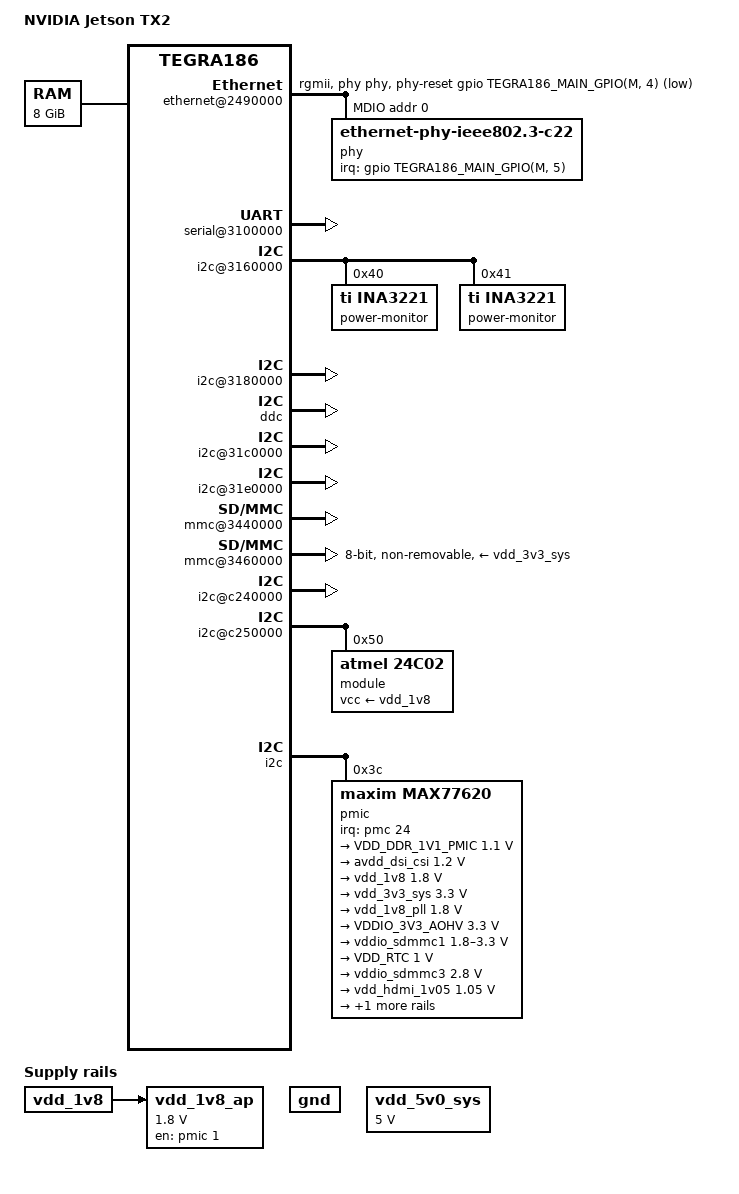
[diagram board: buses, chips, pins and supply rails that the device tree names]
// SPDX-License-Identifier: GPL-2.0
#include "tegra186.dtsi"

#include <dt-bindings/mfd/max77620.h>

/ {
	model = "NVIDIA Jetson TX2";
	compatible = "nvidia,p3310", "nvidia,tegra186";

	aliases {
		ethernet0 = "/ethernet@2490000";
		i2c0 = "/bpmp/i2c";
		i2c1 = "/i2c@3160000";
		i2c2 = "/i2c@c240000";
		i2c3 = "/i2c@3180000";
		i2c4 = "/i2c@3190000";
		i2c5 = "/i2c@31c0000";
		i2c6 = "/i2c@c250000";
		i2c7 = "/i2c@31e0000";
		mmc0 = "/mmc@3460000";
		mmc1 = "/mmc@3400000";
		serial0 = &uarta;
	};

	chosen {
		bootargs = "earlycon console=ttyS0,115200n8 fw_devlink=on";
		stdout-path = "serial0:115200n8";
	};

	memory@80000000 {
		device_type = "memory";
		reg = <0x0 0x80000000 0x2 0x00000000>;
	};

	ethernet@2490000 {
		status = "okay";

		phy-reset-gpios = <&gpio TEGRA186_MAIN_GPIO(M, 4)
					 GPIO_ACTIVE_LOW>;
		phy-handle = <&phy>;
		phy-mode = "rgmii";

		mdio {
			#address-cells = <1>;
			#size-cells = <0>;

			phy: ethernet-phy@0 {
				compatible = "ethernet-phy-ieee802.3-c22";
				reg = <0x0>;
				interrupt-parent = <&gpio>;
				interrupts = <TEGRA186_MAIN_GPIO(M, 5)
					      IRQ_TYPE_LEVEL_LOW>;

				#phy-cells = <0>;
			};
		};
	};

	memory-controller@2c00000 {
		status = "okay";
	};

	serial@3100000 {
		status = "okay";
	};

	i2c@3160000 {
		status = "okay";

		power-monitor@40 {
			compatible = "ti,ina3221";
			reg = <0x40>;
			#address-cells = <1>;
			#size-cells = <0>;

			input@0 {
				reg = <0x0>;
				label = "VDD_SYS_GPU";
				shunt-resistor-micro-ohms = <10000>;
			};

			input@1 {
				reg = <0x1>;
				label = "VDD_SYS_SOC";
				shunt-resistor-micro-ohms = <10000>;
			};

			input@2 {
				reg = <0x2>;
				label = "VDD_3V8_WIFI";
				shunt-resistor-micro-ohms = <10000>;
			};
		};

		power-monitor@41 {
			compatible = "ti,ina3221";
			reg = <0x41>;
			#address-cells = <1>;
			#size-cells = <0>;

			input@0 {
				reg = <0x0>;
				label = "VDD_IN";
				shunt-resistor-micro-ohms = <5000>;
			};

			input@1 {
				reg = <0x1>;
				label = "VDD_SYS_CPU";
				shunt-resistor-micro-ohms = <10000>;
			};

			input@2 {
				reg = <0x2>;
				label = "VDD_5V0_DDR";
				shunt-resistor-micro-ohms = <10000>;
			};
		};
	};

	i2c@3180000 {
		status = "okay";
	};

	ddc: i2c@3190000 {
		status = "okay";
	};

	i2c@31c0000 {
		status = "okay";
	};

	i2c@31e0000 {
		status = "okay";
	};

	/* SDMMC1 (SD/MMC) */
	mmc@3400000 {
		cd-gpios = <&gpio TEGRA186_MAIN_GPIO(P, 5) GPIO_ACTIVE_LOW>;
		wp-gpios = <&gpio TEGRA186_MAIN_GPIO(P, 4) GPIO_ACTIVE_HIGH>;

		vqmmc-supply = <&vddio_sdmmc1>;
	};

	/* SDMMC3 (SDIO) */
	mmc@3440000 {
		status = "okay";
		vqmmc-supply = <&vddio_sdmmc3>;
	};

	/* SDMMC4 (eMMC) */
	mmc@3460000 {
		status = "okay";
		bus-width = <8>;
		non-removable;

		vqmmc-supply = <&vdd_1v8_ap>;
		vmmc-supply = <&vdd_3v3_sys>;
	};

	hsp@3c00000 {
		status = "okay";
	};

	i2c@c240000 {
		status = "okay";
	};

	i2c@c250000 {
		status = "okay";

		/* module ID EEPROM */
		eeprom@50 {
			compatible = "atmel,24c02";
			reg = <0x50>;

			label = "module";
			vcc-supply = <&vdd_1v8>;
			address-width = <8>;
			pagesize = <8>;
			size = <256>;
			read-only;
		};
	};

	rtc@c2a0000 {
		status = "okay";
	};

	pmc@c360000 {
		nvidia,invert-interrupt;
	};

	bpmp {
		i2c {
			status = "okay";

			pmic: pmic@3c {
				compatible = "maxim,max77620";
				reg = <0x3c>;

				interrupt-parent = <&pmc>;
				interrupts = <24 IRQ_TYPE_LEVEL_LOW>;
				#interrupt-cells = <2>;
				interrupt-controller;

				#gpio-cells = <2>;
				gpio-controller;

				pinctrl-names = "default";
				pinctrl-0 = <&max77620_default>;

				fps {
					fps0 {
						maxim,fps-event-source = <MAX77620_FPS_EVENT_SRC_EN0>;
						maxim,shutdown-fps-time-period-us = <640>;
					};

					fps1 {
						maxim,fps-event-source = <MAX77620_FPS_EVENT_SRC_EN1>;
						maxim,shutdown-fps-time-period-us = <640>;
					};

					fps2 {
						maxim,fps-event-source = <MAX77620_FPS_EVENT_SRC_EN0>;
						maxim,shutdown-fps-time-period-us = <640>;
					};
				};

				max77620_default: pinmux {
					gpio0 {
						pins = "gpio0";
						function = "gpio";
					};

					gpio1 {
						pins = "gpio1";
						function = "fps-out";
						maxim,active-fps-source = <MAX77620_FPS_SRC_0>;
					};

					gpio2 {
						pins = "gpio2";
						function = "fps-out";
						maxim,active-fps-source = <MAX77620_FPS_SRC_1>;
					};

					gpio3 {
						pins = "gpio3";
						function = "fps-out";
						maxim,active-fps-source = <MAX77620_FPS_SRC_1>;
					};

					gpio4 {
						pins = "gpio4";
						function = "32k-out1";
						drive-push-pull = <1>;
					};

					gpio5 {
						pins = "gpio5";
						function = "gpio";
						drive-push-pull = <0>;
					};

					gpio6 {
						pins = "gpio6";
						function = "gpio";
						drive-push-pull = <1>;
					};

					gpio7 {
						pins = "gpio7";
						function = "gpio";
						drive-push-pull = <0>;
					};
				};

				regulators {
					in-sd0-supply = <&vdd_5v0_sys>;
					in-sd1-supply = <&vdd_5v0_sys>;
					in-sd2-supply = <&vdd_5v0_sys>;
					in-sd3-supply = <&vdd_5v0_sys>;

					in-ldo0-1-supply = <&vdd_5v0_sys>;
					in-ldo2-supply = <&vdd_5v0_sys>;
					in-ldo3-5-supply = <&vdd_5v0_sys>;
					in-ldo4-6-supply = <&vdd_1v8>;
					in-ldo7-8-supply = <&avdd_dsi_csi>;

					sd0 {
						regulator-name = "VDD_DDR_1V1_PMIC";
						regulator-min-microvolt = <1100000>;
						regulator-max-microvolt = <1100000>;
						regulator-always-on;
						regulator-boot-on;
					};

					avdd_dsi_csi: sd1 {
						regulator-name = "AVDD_DSI_CSI_1V2";
						regulator-min-microvolt = <1200000>;
						regulator-max-microvolt = <1200000>;
					};

					vdd_1v8: sd2 {
						regulator-name = "VDD_1V8";
						regulator-min-microvolt = <1800000>;
						regulator-max-microvolt = <1800000>;
					};

					vdd_3v3_sys: sd3 {
						regulator-name = "VDD_3V3_SYS";
						regulator-min-microvolt = <3300000>;
						regulator-max-microvolt = <3300000>;
					};

					vdd_1v8_pll: ldo0 {
						regulator-name = "VDD_1V8_AP_PLL";
						regulator-min-microvolt = <1800000>;
						regulator-max-microvolt = <1800000>;
					};

					ldo2 {
						regulator-name = "VDDIO_3V3_AOHV";
						regulator-min-microvolt = <3300000>;
						regulator-max-microvolt = <3300000>;
						regulator-always-on;
						regulator-boot-on;
					};

					vddio_sdmmc1: ldo3 {
						regulator-name = "VDDIO_SDMMC1_AP";
						regulator-min-microvolt = <1800000>;
						regulator-max-microvolt = <3300000>;
					};

					ldo4 {
						regulator-name = "VDD_RTC";
						regulator-min-microvolt = <1000000>;
						regulator-max-microvolt = <1000000>;
					};

					vddio_sdmmc3: ldo5 {
						regulator-name = "VDDIO_SDMMC3_AP";
						regulator-min-microvolt = <2800000>;
						regulator-max-microvolt = <2800000>;
					};

					vdd_hdmi_1v05: ldo7 {
						regulator-name = "VDD_HDMI_1V05";
						regulator-min-microvolt = <1050000>;
						regulator-max-microvolt = <1050000>;
					};

					vdd_pex: ldo8 {
						regulator-name = "VDD_PEX_1V05";
						regulator-min-microvolt = <1050000>;
						regulator-max-microvolt = <1050000>;
					};
				};
			};
		};
	};

	cpus {
		cpu@0 {
			enable-method = "psci";
		};

		cpu@1 {
			enable-method = "psci";
		};

		cpu@2 {
			enable-method = "psci";
		};

		cpu@3 {
			enable-method = "psci";
		};

		cpu@4 {
			enable-method = "psci";
		};

		cpu@5 {
			enable-method = "psci";
		};
	};

	psci {
		compatible = "arm,psci-1.0";
		status = "okay";
		method = "smc";
	};

	gnd: regulator-gnd {
		compatible = "regulator-fixed";
		regulator-name = "GND";
		regulator-min-microvolt = <0>;
		regulator-max-microvolt = <0>;
		regulator-always-on;
		regulator-boot-on;
	};

	vdd_5v0_sys: regulator-vdd-5v0-sys {
		compatible = "regulator-fixed";
		regulator-name = "VDD_5V0_SYS";
		regulator-min-microvolt = <5000000>;
		regulator-max-microvolt = <5000000>;
		regulator-always-on;
		regulator-boot-on;
	};

	vdd_1v8_ap: regulator-vdd-1v8-ap {
		compatible = "regulator-fixed";
		regulator-name = "VDD_1V8_AP";
		regulator-min-microvolt = <1800000>;
		regulator-max-microvolt = <1800000>;

		gpio = <&pmic 1 GPIO_ACTIVE_HIGH>;
		enable-active-high;

		vin-supply = <&vdd_1v8>;
	};
};
